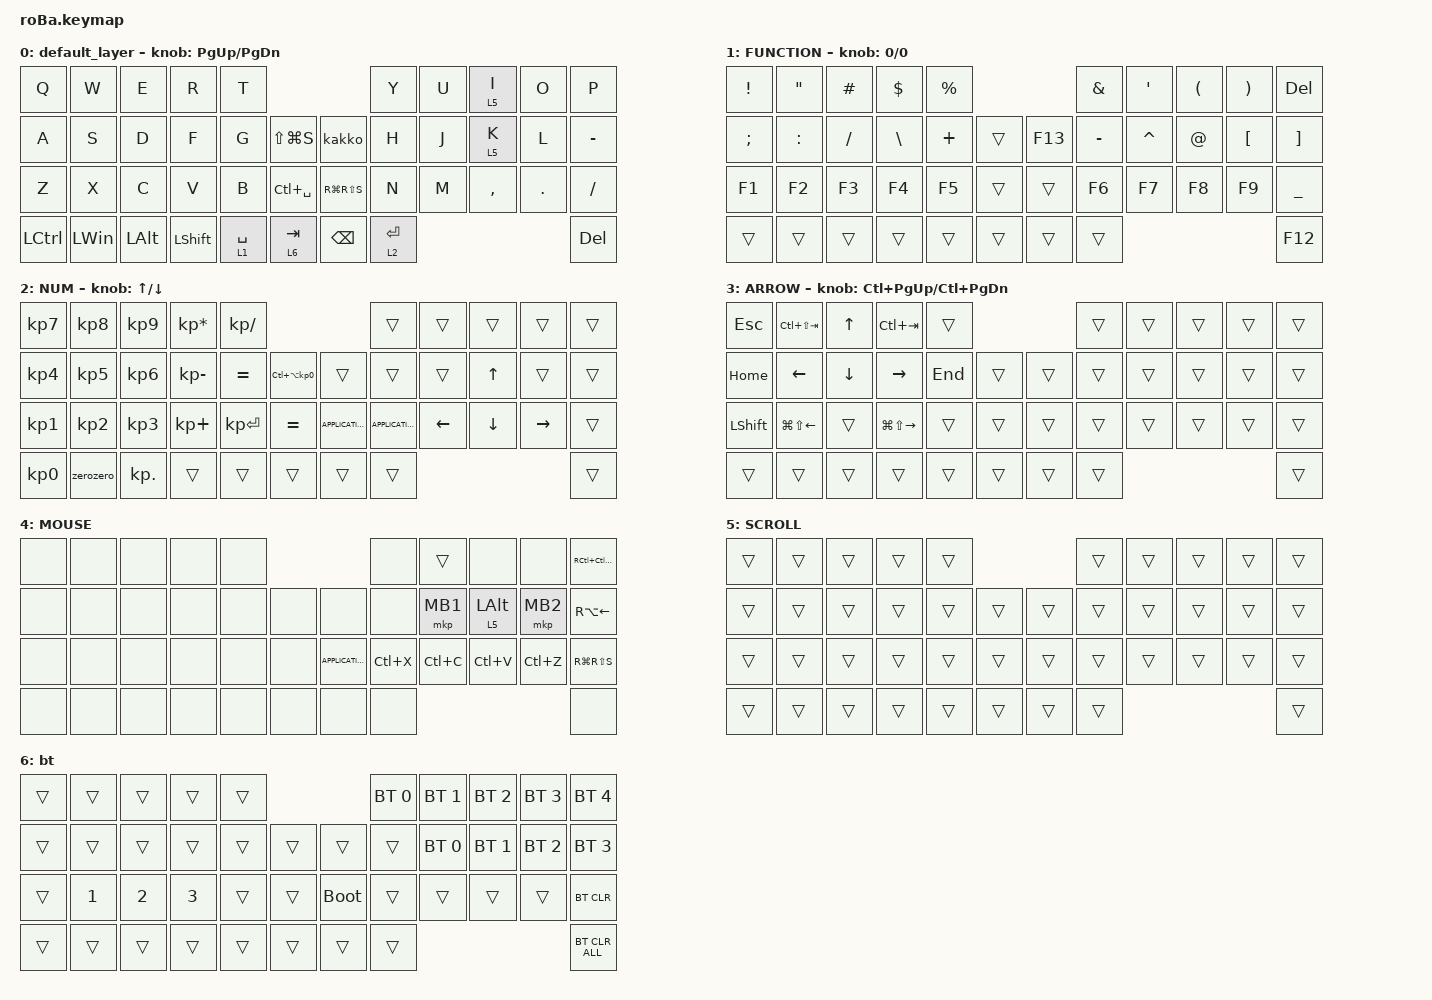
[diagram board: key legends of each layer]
#include <behaviors.dtsi>
#include <dt-bindings/zmk/bt.h>
#include <dt-bindings/zmk/keys.h>
#include <dt-bindings/zmk/pointing.h>

#define MOUSE 4
#define SCROLL 5
#define NUM 6

&mt {
    flavor = "balanced";
    quick-tap-ms = <0>;
};

/ {
    combos {
        compatible = "zmk,combos";

        tab {
            bindings = <&kp TAB>;
            key-positions = <11 12>;
        };

        shift_tab {
            bindings = <&kp LS(TAB)>;
            key-positions = <12 13>;
        };

        muhennkann {
            bindings = <&to_layer_0 INT_MUHENKAN>;
            key-positions = <11 10>;
        };

        double_quotation {
            bindings = <&kp DOUBLE_QUOTES>;
            key-positions = <20 21>;
        };

        eq {
            bindings = <&kp EQUAL>;
            key-positions = <24 25>;
        };
    };

    macros {
        to_layer_0: to_layer_0 {
            compatible = "zmk,behavior-macro-one-param";
            #binding-cells = <1>;
            bindings = <&to 0 &macro_param_1to1 &kp MACRO_PLACEHOLDER>;
            label = "TO_LAYER_0";
        };

        zerozero: new_macro {
            compatible = "zmk,behavior-macro";
            #binding-cells = <0>;
            bindings = <&kp KP_N0 &kp KP_N0>;
            label = "NEW_MACRO";
        };

        kakko: att {
            compatible = "zmk,behavior-macro";
            #binding-cells = <0>;
            bindings = <&kp LEFT_PARENTHESIS &kp RIGHT_PARENTHESIS>;
            label = "ATT";
        };
    };

    behaviors {
        lt_to_layer_0: lt_to_layer_0 {
            compatible = "zmk,behavior-hold-tap";
            label = "LAYER_TAP_TO_0";
            bindings = <&mo>, <&to_layer_0>;

            #binding-cells = <2>;
            tapping-term-ms = <200>;
        };
    };

    keymap {
        compatible = "zmk,keymap";

        default_layer {
            bindings = <
&kp Q      &kp W         &kp E         &kp R           &kp T                                                 &kp Y        &kp U  &lt 5 I    &kp O    &kp P
&kp A      &kp S         &kp D         &kp F           &kp G        &kp LS(LG(S))             &kakko         &kp H        &kp J  &lt 5 K    &kp L    &kp MINUS
&kp Z      &kp X         &kp C         &kp V           &kp B        &kp LC(SPACE)             &kp RG(RS(S))  &kp N        &kp M  &kp COMMA  &kp DOT  &kp SLASH
&kp LCTRL  &kp LEFT_WIN  &kp LEFT_ALT  &kp LEFT_SHIFT  &lt 1 SPACE  &lt_to_layer_0 6 TAB      &kp BACKSPACE  &lt 2 ENTER                             &kp DEL
            >;

            sensor-bindings = <&inc_dec_kp PG_UP PAGE_DOWN>;
        };

        FUNCTION {
            bindings = <
&kp EXCLAMATION  &kp DOUBLE_QUOTES  &kp HASH   &kp DOLLAR     &kp PERCENT                       &kp AMPERSAND  &kp SQT    &kp LEFT_PARENTHESIS  &kp RIGHT_PARENTHESIS  &kp DEL
&kp SEMICOLON    &kp COLON          &kp SLASH  &kp BACKSLASH  &kp PLUS     &trans      &kp F13  &kp MINUS      &kp CARET  &kp AT_SIGN           &kp LEFT_BRACKET       &kp RIGHT_BRACKET
&kp F1           &kp F2             &kp F3     &kp F4         &kp F5       &trans      &trans   &kp F6         &kp F7     &kp F8                &kp F9                 &kp UNDER
&trans           &trans             &trans     &trans         &trans       &trans      &trans   &trans                                                                 &kp F12
            >;

            sensor-bindings = <&inc_dec_kp 0 0>;
        };

        NUM {
            bindings = <
&kp KP_N7        &kp KP_N8  &kp KP_NUMBER_9  &kp KP_ASTERISK  &kp KP_DIVIDE                                                  &trans             &trans          &trans          &trans           &trans
&kp KP_NUMBER_4  &kp KP_N5  &kp KP_NUMBER_6  &kp KP_MINUS     &kp EQUAL      &kp LC(LA(KP_NUMBER_0))      &trans             &trans             &trans          &kp UP_ARROW    &trans           &trans
&kp KP_NUMBER_1  &kp KP_N2  &kp KP_N3        &kp KP_PLUS      &kp KP_ENTER   &kp EQUAL                    &kp K_APPLICATION  &kp K_APPLICATION  &kp LEFT_ARROW  &kp DOWN_ARROW  &kp RIGHT_ARROW  &trans
&kp KP_N0        &zerozero  &kp KP_DOT       &trans           &trans         &trans                       &trans             &trans                                                              &trans
            >;

            sensor-bindings = <&inc_dec_kp UP_ARROW DOWN_ARROW>;
        };

        ARROW {
            bindings = <
&kp ESCAPE      &kp LC(LS(TAB))         &kp UP_ARROW    &kp LC(TAB)              &trans                       &trans  &trans  &trans  &trans  &trans
&kp HOME        &kp LEFT_ARROW          &kp DOWN_ARROW  &kp RIGHT_ARROW          &kp END  &trans      &trans  &trans  &trans  &trans  &trans  &trans
&kp LEFT_SHIFT  &kp LG(LS(LEFT_ARROW))  &trans          &kp LG(LS(RIGHT_ARROW))  &trans   &trans      &trans  &trans  &trans  &trans  &trans  &trans
&trans          &trans                  &trans          &trans                   &trans   &trans      &trans  &trans                          &trans
            >;

            sensor-bindings = <&inc_dec_kp LC(PAGE_UP) LC(PAGE_DOWN)>;
        };

        MOUSE {
            bindings = <
&none  &none  &none  &none  &none                                &none      &trans     &none           &none      &kp RC(LC(W))
&none  &none  &none  &none  &none  &none      &none              &none      &mkp MB1   &lt 5 LEFT_ALT  &mkp MB2   &kp RA(LEFT)
&none  &none  &none  &none  &none  &none      &kp K_APPLICATION  &kp LC(X)  &kp LC(C)  &kp LC(V)       &kp LC(Z)  &kp RG(RS(S))
&none  &none  &none  &none  &none  &none      &none              &none                                            &none
            >;
        };

        SCROLL {
            bindings = <
&trans  &trans  &trans  &trans  &trans                      &trans  &trans  &trans  &trans  &trans
&trans  &trans  &trans  &trans  &trans  &trans      &trans  &trans  &trans  &trans  &trans  &trans
&trans  &trans  &trans  &trans  &trans  &trans      &trans  &trans  &trans  &trans  &trans  &trans
&trans  &trans  &trans  &trans  &trans  &trans      &trans  &trans                          &trans
            >;
        };

        bt {
            bindings = <
&trans  &trans        &trans        &trans        &trans                           &bt BT_SEL 0  &bt BT_SEL 1  &bt BT_SEL 2  &bt BT_SEL 3  &bt BT_SEL 4
&trans  &trans        &trans        &trans        &trans  &trans      &trans       &trans        &bt BT_SEL 0  &bt BT_SEL 1  &bt BT_SEL 2  &bt BT_SEL 3
&trans  &kp NUMBER_1  &kp NUMBER_2  &kp NUMBER_3  &trans  &trans      &bootloader  &trans        &trans        &trans        &trans        &bt BT_CLR
&trans  &trans        &trans        &trans        &trans  &trans      &trans       &trans                                                  &bt BT_CLR_ALL
            >;
        };
    };
};
